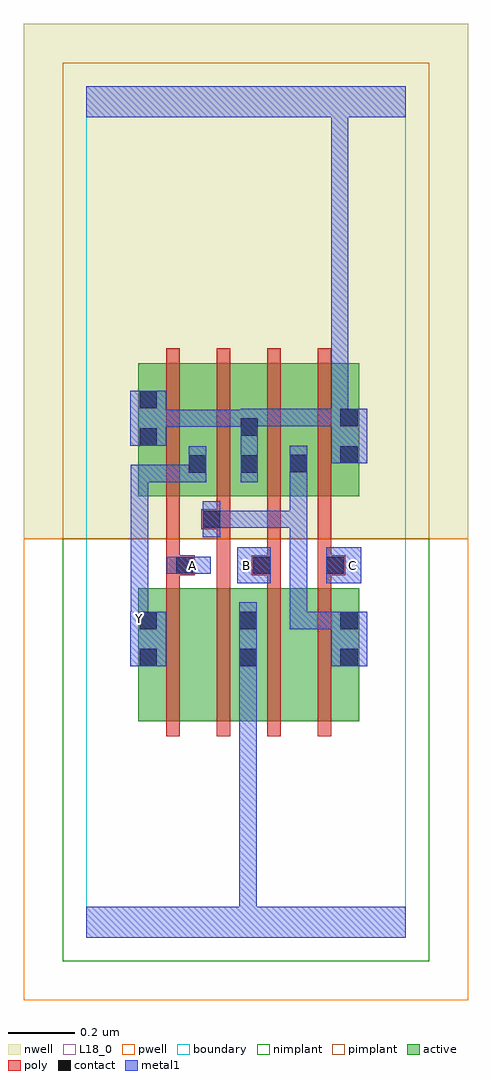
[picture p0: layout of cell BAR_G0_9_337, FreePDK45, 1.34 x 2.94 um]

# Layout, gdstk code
import gdstk
lib = gdstk.Library(unit=1e-6, precision=1e-09)
def R(c, l, rs):  # rectangles x0, y0, x1, y1
    for r in rs: c.add(gdstk.rectangle(r[:2], r[2:], *l))
def A(c, l, x, y, w, h, nx, ny, dx, dy):  # array of equal rectangles
    R(c, l, [(x+i*dx, y+j*dy, x+i*dx+w, y+j*dy+h) for i in range(nx) for j in range(ny)])
active = (1, 0)
pwell = (2, 0)
nwell = (3, 0)
nimplant = (4, 0)
pimplant = (5, 0)
poly = (9, 0)
contact = (10, 0)
metal1 = (11, 0)
L18_0 = (18, 0)
boundary = (235, 0)

bar_g0_9_337 = lib.new_cell('BAR_G0_9_337')
R(bar_g0_9_337, active, [(0.156,0.65,0.336,1.05), (0.336,0.65,0.516,1.05), (0.456,0.65,0.64,1.05), (0.64,0.65,0.82,1.05), (0.156,0.756,0.216,1.05), (0.456,0.756,0.516,1.05), (0.76,0.756,0.82,1.05), (0.156,1.328,0.364,1.728), (0.156,1.328,0.216,1.728), (0.304,1.328,0.364,1.644), (0.304,1.328,0.52,1.728), (0.46,1.328,0.52,1.644), (0.46,1.328,0.668,1.728), (0.608,1.328,0.668,1.644), (0.608,1.328,0.82,1.728), (0.76,1.328,0.82,1.644)])
R(bar_g0_9_337, pwell, [(-0.188,-0.188,1.148,1.2)])
R(bar_g0_9_337, nwell, [(-0.188,1.2,1.148,2.748)])
R(bar_g0_9_337, nimplant, [(-0.072,-0.072,1.032,1.2)])
R(bar_g0_9_337, pimplant, [(-0.072,1.2,1.032,2.632)])
A(bar_g0_9_337, poly, 0.24, 0.606, 0.04, 0.488, 4, 2, 0.152, 0.678)
R(bar_g0_9_337, poly, [(0.24,1.054,0.28,1.13), (0.392,1.054,0.432,1.268), (0.544,1.054,0.584,1.13), (0.696,1.054,0.736,1.13), (0.24,1.09,0.326,1.15), (0.498,1.09,0.584,1.15), (0.696,1.09,0.778,1.15), (0.24,1.11,0.28,1.324), (0.24,1.11,0.28,1.15), (0.24,1.11,0.28,1.15), (0.544,1.11,0.584,1.324), (0.544,1.11,0.584,1.15), (0.544,1.11,0.584,1.15), (0.696,1.11,0.736,1.324), (0.696,1.11,0.736,1.15), (0.696,1.11,0.736,1.15), (0.346,1.228,0.432,1.288), (0.392,1.228,0.432,1.268), (0.392,1.228,0.432,1.268), (0.392,1.248,0.432,1.324)])
R(bar_g0_9_337, contact, [(0.16,0.816,0.212,0.868), (0.46,0.816,0.512,0.868), (0.764,0.816,0.816,0.868), (0.16,0.928,0.212,0.98), (0.46,0.928,0.512,0.98), (0.764,0.928,0.816,0.98), (0.27,1.094,0.322,1.146), (0.502,1.094,0.554,1.146), (0.722,1.094,0.774,1.146), (0.35,1.232,0.402,1.284), (0.308,1.398,0.36,1.45), (0.464,1.398,0.516,1.45), (0.612,1.4,0.664,1.452), (0.764,1.426,0.816,1.478), (0.16,1.48,0.212,1.532), (0.464,1.51,0.516,1.562), (0.764,1.538,0.816,1.59), (0.16,1.592,0.212,1.644)])
R(bar_g0_9_337, metal1, [(0,0,0.96,0.092), (0.46,0.04,0.512,0.092), (0.46,0.04,0.512,0.092), (0.46,0.04,0.512,0.092), (0.46,0.04,0.512,0.092), (0.46,0.04,0.512,0.092), (0.46,0.04,0.512,0.092), (0.46,0.04,0.512,0.092), (0.46,0.04,0.512,0.092), (0.46,0.04,0.512,0.092), (0.46,0.04,0.512,0.092), (0.46,0.04,0.512,0.092), (0.46,0.04,0.512,0.092), (0.46,0.04,0.512,0.84), (0.46,0.788,0.512,1.008), (0.132,0.816,0.24,0.98), (0.736,0.816,0.844,0.98), (0.134,0.906,0.186,1.014), (0.134,0.928,0.186,0.98), (0.612,0.928,0.664,0.98), (0.612,0.928,0.664,0.98), (0.612,0.928,0.664,0.98), (0.612,0.928,0.788,0.98), (0.612,0.928,0.664,1.284), (0.134,0.962,0.186,1.422), (0.454,1.066,0.554,1.174), (0.722,1.066,0.826,1.174), (0.242,1.094,0.374,1.146), (0.35,1.204,0.402,1.312), (0.35,1.232,0.554,1.284), (0.502,1.232,0.554,1.284), (0.502,1.232,0.554,1.284), (0.502,1.232,0.554,1.284), (0.502,1.232,0.664,1.284), (0.612,1.232,0.664,1.284), (0.612,1.232,0.664,1.284), (0.612,1.232,0.664,1.284), (0.612,1.232,0.664,1.424), (0.134,1.37,0.186,1.422), (0.134,1.37,0.186,1.422), (0.134,1.37,0.186,1.422), (0.134,1.37,0.186,1.422), (0.134,1.37,0.186,1.422), (0.134,1.37,0.36,1.422), (0.308,1.37,0.36,1.478), (0.464,1.37,0.516,1.59), (0.612,1.372,0.664,1.48), (0.736,1.426,0.844,1.59), (0.132,1.48,0.24,1.644), (0.188,1.536,0.24,1.588), (0.188,1.536,0.24,1.588), (0.188,1.536,0.35,1.588), (0.298,1.536,0.35,1.588), (0.298,1.536,0.35,1.588), (0.298,1.536,0.35,1.588), (0.298,1.536,0.516,1.588), (0.464,1.538,0.516,1.59), (0.464,1.538,0.516,1.59), (0.464,1.538,0.664,1.59), (0.612,1.538,0.664,1.59), (0.612,1.538,0.788,1.59), (0.736,1.538,0.788,1.59), (0.736,1.538,0.788,1.59), (0.736,1.538,0.788,1.59), (0.736,1.538,0.788,1.59), (0.736,1.538,0.788,1.59), (0.736,1.538,0.788,1.59), (0.736,1.538,0.788,1.59), (0.736,1.538,0.788,1.59), (0.736,1.538,0.788,1.59), (0.736,1.538,0.788,1.59), (0.736,1.538,0.788,1.59), (0.736,1.538,0.788,1.59), (0.736,1.538,0.788,1.59), (0.736,1.538,0.788,1.59), (0.736,1.538,0.788,1.59), (0.736,1.538,0.788,1.59), (0.736,1.538,0.788,1.59), (0.736,1.538,0.788,1.59), (0.736,1.538,0.788,2.52), (0,2.468,0.96,2.56)])
R(bar_g0_9_337, L18_0, [(0,0,0.96,0.092), (0.46,0.04,0.512,0.092), (0.46,0.04,0.512,0.092), (0.46,0.04,0.512,0.092), (0.46,0.04,0.512,0.092), (0.46,0.04,0.512,0.092), (0.46,0.04,0.512,0.092), (0.46,0.04,0.512,0.092), (0.46,0.04,0.512,0.092), (0.46,0.04,0.512,0.092), (0.46,0.04,0.512,0.092), (0.46,0.04,0.512,0.092), (0.46,0.04,0.512,0.092), (0.46,0.04,0.512,0.84), (0.46,0.788,0.512,1.008), (0.132,0.816,0.24,0.98), (0.134,0.906,0.186,1.014), (0.134,0.928,0.186,0.98), (0.134,0.934,0.186,0.986), (0.134,0.962,0.186,1.422), (0.454,1.066,0.554,1.174), (0.722,1.066,0.826,1.174), (0.242,1.094,0.374,1.146), (0.294,1.094,0.346,1.146), (0.454,1.094,0.506,1.146), (0.774,1.094,0.826,1.146), (0.134,1.37,0.186,1.422), (0.134,1.37,0.186,1.422), (0.134,1.37,0.186,1.422), (0.134,1.37,0.186,1.422), (0.134,1.37,0.186,1.422), (0.134,1.37,0.36,1.422), (0.308,1.37,0.36,1.478), (0.464,1.37,0.516,1.59), (0.736,1.426,0.844,1.59), (0.132,1.48,0.24,1.644), (0.188,1.536,0.24,1.588), (0.188,1.536,0.24,1.588), (0.188,1.536,0.35,1.588), (0.298,1.536,0.35,1.588), (0.298,1.536,0.35,1.588), (0.298,1.536,0.35,1.588), (0.298,1.536,0.516,1.588), (0.464,1.538,0.516,1.59), (0.464,1.538,0.516,1.59), (0.464,1.538,0.664,1.59), (0.612,1.538,0.664,1.59), (0.612,1.538,0.788,1.59), (0.736,1.538,0.788,1.59), (0.736,1.538,0.788,1.59), (0.736,1.538,0.788,1.59), (0.736,1.538,0.788,1.59), (0.736,1.538,0.788,1.59), (0.736,1.538,0.788,1.59), (0.736,1.538,0.788,1.59), (0.736,1.538,0.788,1.59), (0.736,1.538,0.788,1.59), (0.736,1.538,0.788,1.59), (0.736,1.538,0.788,1.59), (0.736,1.538,0.788,1.59), (0.736,1.538,0.788,1.59), (0.736,1.538,0.788,1.59), (0.736,1.538,0.788,1.59), (0.736,1.538,0.788,1.59), (0.736,1.538,0.788,1.59), (0.736,1.538,0.788,1.59), (0.736,1.538,0.788,2.52), (0,2.468,0.96,2.56)])
R(bar_g0_9_337, boundary, [(0,0,0.96,2.56)])
bar_g0_9_337.add(gdstk.Label('A', (0.32,1.12), layer=11, texttype=0))
bar_g0_9_337.add(gdstk.Label('B', (0.48,1.12), layer=11, texttype=0))
bar_g0_9_337.add(gdstk.Label('C', (0.8,1.12), layer=11, texttype=0))
bar_g0_9_337.add(gdstk.Label('Y', (0.16,0.96), layer=11, texttype=0))

lib.write_gds('BAR_G0_9_337.gds')
